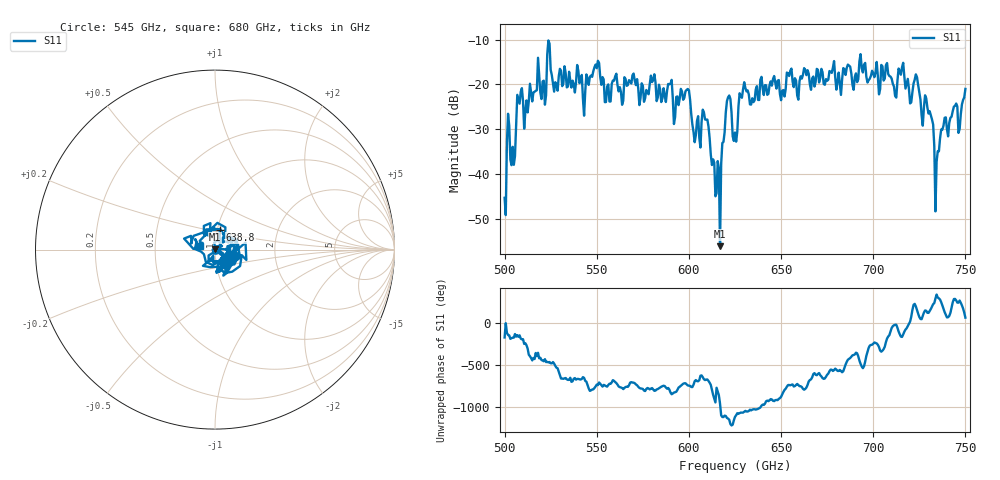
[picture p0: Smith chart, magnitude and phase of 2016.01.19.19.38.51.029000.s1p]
!Created with skrf (http://scikit-rf.org).
# GHz S RI R 50.0
!freq ReS11 ImS11
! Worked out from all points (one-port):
!   401 points, 500 GHz to 750 GHz, reference 50 ohm
!   lowest |S11| = -56.1 dB at 616.9 GHz (marker M1), VSWR 1.00, Z = 49.9 + j0.132 ohm
!   |S11| at or under -10 dB: start of sweep to end of sweep
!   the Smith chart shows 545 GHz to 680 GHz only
!   S11 on the Smith chart (normalised r, x): 545 GHz: 1.25, -0.09; 638.8 GHz: 1.03, +0.23; 680 GHz: 0.84, +0.03
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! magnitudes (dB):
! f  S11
! 500 GHz  -45.3
! 502.5 GHz  -29.2
! 504.4 GHz  -33.9
! 508.1 GHz  -24.3
! 521.2 GHz  -19.1
! 524.4 GHz  -10.9
! 527.5 GHz  -19.5
! 531.2 GHz  -20.4
! 545 GHz  -18.7
! 562.5 GHz  -20.6
! 593.8 GHz  -22.7
! 599.4 GHz  -21.0
! 603.1 GHz  -32.9
! 608.8 GHz  -27.8
! 615.6 GHz  -37.1
! 616.9 GHz  -56.1
! 621.2 GHz  -22.9
! 625 GHz  -30.7
! 628.8 GHz  -23.0
! 638.8 GHz  -19.0
! 656.2 GHz  -19.3
! 680 GHz  -21.1
! 687.5 GHz  -16.0
! 718.8 GHz  -18.7
! 729.4 GHz  -25.1
! 734.4 GHz  -37.3
! 738.1 GHz  -29.2
! 750 GHz  -21.0
